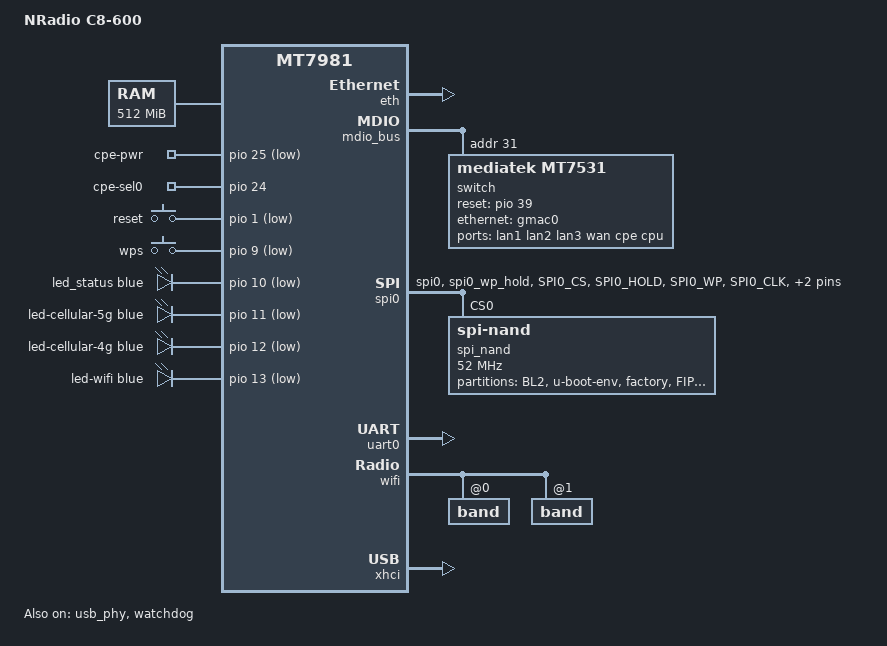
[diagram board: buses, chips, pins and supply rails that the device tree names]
// SPDX-License-Identifier: GPL-2.0-or-later OR MIT
/*
 * Copyright (C) 2024-2026 NRadio / ImmortalWrt contributors
 * NRadio C8-600 (WT9106) — MT7981 SPI-NAND 128MB + NMBM
 */

/dts-v1/;

#include <dt-bindings/gpio/gpio.h>
#include <dt-bindings/input/input.h>
#include <dt-bindings/leds/common.h>
#include <dt-bindings/pinctrl/mt65xx.h>

#include "mt7981b.dtsi"
#include "wt9106-bootargs.h"

/ {
	model = "NRadio C8-600";
	compatible = "nradio,wt9106", "nradio,c8-600", "mediatek,mt7981";

	aliases {
		serial0 = &uart0;
		led-boot = &led_status;
		led-failsafe = &led_status;
		led-running = &led_status;
		led-upgrade = &led_status;
		label-mac-device = &gmac0;
	};

	chosen {
		stdout-path = "serial0:115200n8";
		/* Filogic CMDLINE_OVERRIDE preserves these arguments after U-Boot fixups. */
		bootargs = WT9106_BOOTARGS;
		bootargs-override = WT9106_BOOTARGS;
		rootdisk = <&ubi_rootdisk>;
	};

	/* 512 MiB expanded board. U-Boot may fix up the detected DRAM size. */
	memory@40000000 {
		reg = <0 0x40000000 0 0x20000000>;
		device_type = "memory";
	};

	/*
	 * 5G CPE GPIO (WT9106):
	 * - cpe-pwr  GPIO25 ACTIVE_LOW: output 0 = powered on
	 * - cpe-sel0 GPIO24 ACTIVE_HIGH: output 1 = external SIM (slot 1)
	 */
	gpio-export {
		compatible = "gpio-export";
		#size-cells = <0>;

		cpepower {
			gpio-export,name = "cpe-pwr";
			gpio-export,output = <0>;
			gpios = <&pio 25 GPIO_ACTIVE_LOW>;
		};

		cpesel0 {
			gpio-export,name = "cpe-sel0";
			gpio-export,output = <1>;
			gpios = <&pio 24 GPIO_ACTIVE_HIGH>;
		};
	};

	gpio-keys {
		compatible = "gpio-keys";

		button-reset {
			label = "reset";
			linux,code = <KEY_RESTART>;
			gpios = <&pio 1 GPIO_ACTIVE_LOW>;
		};

		button-wps {
			label = "wps";
			linux,code = <KEY_WPS_BUTTON>;
			gpios = <&pio 9 GPIO_ACTIVE_LOW>;
		};
	};

	gpio-leds {
		compatible = "gpio-leds";

		led_status: led-status {
			color = <LED_COLOR_ID_BLUE>;
			function = LED_FUNCTION_STATUS;
			gpios = <&pio 10 GPIO_ACTIVE_LOW>;
		};

		/* OEM cmode5 — 5G indicator */
		led-cellular-5g {
			color = <LED_COLOR_ID_BLUE>;
			function = LED_FUNCTION_INDICATOR;
			function-enumerator = <0>;
			gpios = <&pio 11 GPIO_ACTIVE_LOW>;
		};

		/* OEM cmode4 — 4G indicator */
		led-cellular-4g {
			color = <LED_COLOR_ID_BLUE>;
			function = LED_FUNCTION_INDICATOR;
			function-enumerator = <1>;
			gpios = <&pio 12 GPIO_ACTIVE_LOW>;
		};

		led-wifi {
			color = <LED_COLOR_ID_BLUE>;
			function = LED_FUNCTION_WLAN;
			gpios = <&pio 13 GPIO_ACTIVE_LOW>;
		};
	};
};

&eth {
	status = "okay";
	pinctrl-names = "default";
	pinctrl-0 = <&mdio_pins>;

	gmac0: mac@0 {
		compatible = "mediatek,eth-mac";
		reg = <0>;
		phy-mode = "2500base-x";
		nvmem-cells = <&macaddr_factory_2a 0>;
		nvmem-cell-names = "mac-address";

		fixed-link {
			speed = <2500>;
			full-duplex;
			pause;
		};
	};
};

&mdio_bus {
	switch: switch@1f {
		compatible = "mediatek,mt7531";
		reg = <31>;
		reset-gpios = <&pio 39 GPIO_ACTIVE_HIGH>;
		/* NROS uses PHY polling. GPIO38 IRQ wiring is unverified. */
	};
};

&switch {
	ports {
		#address-cells = <1>;
		#size-cells = <0>;

		/* 面板顺序：port0=lan1, port1=lan2, port2=lan3 */
		port@0 {
			reg = <0>;
			label = "lan1";
		};

		port@1 {
			reg = <1>;
			label = "lan2";
		};

		port@2 {
			reg = <2>;
			label = "lan3";
		};

		/* OEM: port3 = wired WAN (also ODU/cpe1 when that mode is enabled) */
		port@3 {
			reg = <3>;
			label = "wan";
			nvmem-cells = <&macaddr_factory_24 0>;
			nvmem-cell-names = "mac-address";
		};

		/* Internal Ethernet path to the modem. Never add this to br-lan. */
		port@4 {
			reg = <4>;
			label = "cpe";
			status = "okay";
		};

		port@6 {
			reg = <6>;
			label = "cpu";
			ethernet = <&gmac0>;
			phy-mode = "2500base-x";

			fixed-link {
				speed = <2500>;
				full-duplex;
				pause;
			};
		};
	};
};

&pio {
	spi0_flash_pins: spi0-pins {
		mux {
			function = "spi";
			groups = "spi0", "spi0_wp_hold";
		};

		conf-pu {
			pins = "SPI0_CS", "SPI0_HOLD", "SPI0_WP";
			drive-strength = <MTK_DRIVE_8mA>;
			bias-disable;
		};

		conf-pd {
			pins = "SPI0_CLK", "SPI0_MOSI", "SPI0_MISO";
			drive-strength = <MTK_DRIVE_8mA>;
			bias-disable;
		};
	};
};

&spi0 {
	pinctrl-names = "default";
	pinctrl-0 = <&spi0_flash_pins>;
	status = "okay";

	spi_nand: flash@0 {
		compatible = "spi-nand";
		reg = <0>;

		spi-max-frequency = <52000000>;
		spi-tx-bus-width = <4>;
		spi-rx-bus-width = <4>;

		mediatek,nmbm;
		mediatek,bmt-max-ratio = <1>;
		mediatek,bmt-max-reserved-blocks = <64>;

		partitions {
			compatible = "fixed-partitions";
			#address-cells = <1>;
			#size-cells = <1>;

			partition@0 {
				label = "BL2";
				reg = <0x00000 0x100000>;
				read-only;
			};

			partition@100000 {
				label = "u-boot-env";
				reg = <0x100000 0x80000>;
			};

			/*
			 * factory:
			 *   0x00  WiFi EEPROM
			 *   0x24  wired WAN (port3) MAC
			 *   0x2A  LAN (gmac0) / WiFi MAC base; product WAN = wan/port3
			 */
			factory: partition@180000 {
				label = "factory";
				reg = <0x180000 0x200000>;
				read-only;

				nvmem-layout {
					compatible = "fixed-layout";
					#address-cells = <1>;
					#size-cells = <1>;

					eeprom_factory_0: eeprom@0 {
						reg = <0x0 0x1000>;
					};

					macaddr_factory_24: macaddr@24 {
						compatible = "mac-base";
						reg = <0x24 0x6>;
						#nvmem-cell-cells = <1>;
					};

					macaddr_factory_2a: macaddr@2a {
						compatible = "mac-base";
						reg = <0x2a 0x6>;
						#nvmem-cell-cells = <1>;
					};
				};
			};

			partition@380000 {
				label = "FIP";
				reg = <0x380000 0x200000>;
				read-only;
			};

			partition@580000 {
				compatible = "linux,ubi";
				label = "ubi";
				/* 120 MiB logical end after NMBM reservation, starting at 5.5 MiB. */
				reg = <0x580000 0x7280000>;

				volumes {
					ubi_rootdisk: ubi-volume-fit {
						volname = "fit";
					};
				};
			};
		};
	};
};

&uart0 {
	status = "okay";
};

&usb_phy {
	status = "okay";
};

/* The USB3 trim cells are present in the supplied 5.4 image DTB.
 * The 6.12 SoC dtsi already selects the USB/PCIe PHY mux at 0x218.
 */
&u3port0 {
	nvmem-cells = <&comb_intr_p0>, <&comb_rx_imp_p0>, <&comb_tx_imp_p0>;
	nvmem-cell-names = "intr", "rx_imp", "tx_imp";
};

&pcie {
	status = "disabled";
};

&{/reserved-memory/ramoops@42ff0000} {
	console-size = <0x8000>;
};

&watchdog {
	status = "okay";
};

&wifi {
	#address-cells = <1>;
	#size-cells = <0>;
	status = "okay";
	nvmem-cells = <&eeprom_factory_0>;
	nvmem-cell-names = "eeprom";

	band@0 {
		reg = <0>;
		nvmem-cells = <&macaddr_factory_2a 1>;
		nvmem-cell-names = "mac-address";
	};

	band@1 {
		reg = <1>;
		nvmem-cells = <&macaddr_factory_2a 2>;
		nvmem-cell-names = "mac-address";
	};
};

&xhci {
	status = "okay";
};
